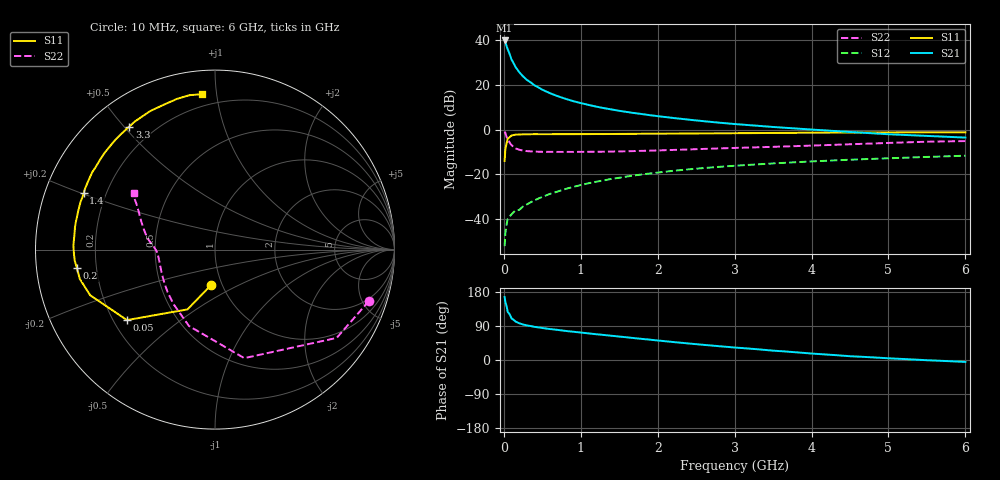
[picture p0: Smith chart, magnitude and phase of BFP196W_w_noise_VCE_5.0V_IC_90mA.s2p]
! Infineon Technologies  Discrete & RF Semiconductors
! BFP196W
! VCE =  5.0 V,  IC =  90 mA
! Common Emitter S-Parameters:  Jan 2017
# GHz  S  MA  R  50
!  f  S11  S21  S12  S22
! GHz  MAG  ANG  MAG  ANG  MAG  ANG  MAG  ANG
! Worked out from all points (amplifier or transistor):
!   77 points, 10 MHz to 6 GHz, reference 50 ohm
!   highest |S21| = 39.8 dB at 10 MHz (marker M1)
!   |S21| within 3 dB of that: start of sweep to 40.32 MHz
!   unconditionally stable (mu >= 1): 511.1 MHz to 3.297 GHz
!   at 130 MHz: K = 0.57, MSG = 33.1 dB, |S12| = -36.8 dB
!   at 2.2 GHz: K = 1.03, MAG = 10.7 dB, |S12| = -18.4 dB
!   at 6 GHz: K = 0.95, MSG = 4.0 dB, |S12| = -11.7 dB
!   lowest NFmin = 1.78 dB at 450 MHz
!   S11 on the Smith chart (normalised r, x): 10 MHz: 0.88, -0.37; 50 MHz: 0.25, -0.33; 200 MHz: 0.13, -0.07; 1.4 GHz: 0.12, +0.20; 3.3 GHz: 0.11, +0.52; 6 GHz: 0.13, +0.91
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0.01  0.2003 -96.7  97.44 166.1  0.0025 77.1  0.9041 -18.5
0.02  0.3668 -114.7  89.47 152.8  0.0049 67.6  0.8375 -36.0
0.05  0.6283 -141.3  61.71 127.1  0.0101 50.6  0.6262 -74.9
0.1  0.7405 -159.9  36.42 109.4  0.0128 47.3  0.4497 -108.8
0.15  0.7707 -167.7  25.18 101.8  0.0157 48.8  0.3816 -127.3
0.2  0.7759 -172.3  19.1 97.0  0.0161 51.1  0.3547 -138.1
0.25  0.784 -175.5  15.36 93.7  0.0193 53.9  0.3391 -145.8
0.3  0.786 -177.9  12.83 91.3  0.0214 56.8  0.3307 -151.0
0.4  0.7894 178.3  9.692 87.4  0.0264 60.8  0.3228 -158.0
0.5  0.7877 175.6  7.758 84.4  0.0315 63.5  0.3189 -162.5
0.6  0.7879 173.0  6.483 81.7  0.0367 64.7  0.3188 -165.7
0.7  0.7903 170.8  5.555 79.4  0.0415 66.5  0.317 -168.1
0.9  0.7904 166.4  4.316 74.6  0.0525 66.6  0.3173 -171.4
1.1  0.793 162.5  3.554 70.3  0.0634 66.6  0.319 -174.0
1.4  0.7964 156.7  2.813 63.9  0.0795 65.2  0.3232 -177.3
1.7  0.8037 151.1  2.331 57.7  0.0948 62.9  0.3315 179.9
2.1  0.8101 143.9  1.903 49.5  0.1148 59.2  0.3467 176.3
3.1  0.8308 127.9  1.291 31.5  0.1596 49.6  0.3936 167.8
3.3  0.8353 124.9  1.215 28.3  0.1676 47.8  0.4025 166.0
4.1  0.8524 113.8  0.977 15.7  0.1981 40.7  0.4448 158.2
5.1  0.8669 103.1  0.774 3.5  0.232 32.4  0.5097 149.5
6  0.8689 94.8  0.663 -5.1  0.261 25.3  0.5537 145.0
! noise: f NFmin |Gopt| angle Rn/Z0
0.45  1.78  0.58  -175  0.06
0.9  1.93  0.6  -168  0.08
1.9  2.83  0.71  -147  0.22
2.4  3.27  0.75  -142  0.36
